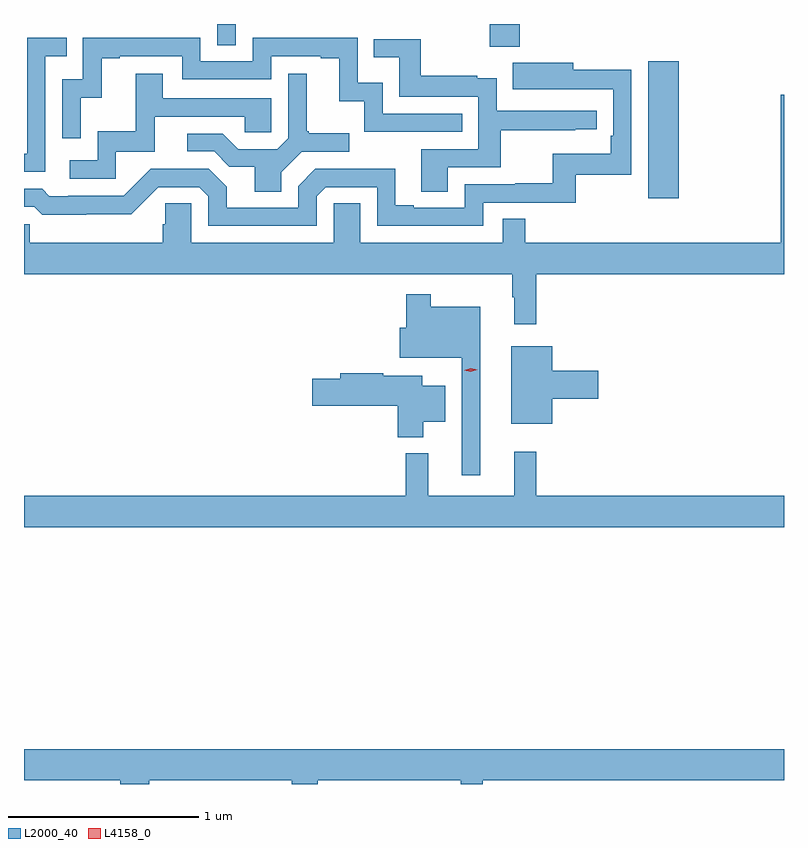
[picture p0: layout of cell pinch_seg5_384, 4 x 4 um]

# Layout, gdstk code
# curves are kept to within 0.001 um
import gdstk
lib = gdstk.Library(unit=1e-6, precision=1e-09)
def R(c, l, rs):  # rectangles x0, y0, x1, y1
    for r in rs: c.add(gdstk.rectangle(r[:2], r[2:], *l))
def P(c, l, *ps):  # polygons
    for p in ps: c.add(gdstk.Polygon(p, *l))
L2000_40 = (2000, 40)
L4158_0 = (4158, 0)

pinch_seg5_384 = lib.new_cell('pinch_seg5_384')
R(pinch_seg5_384, L2000_40, [(975.407,871.812,975.568,872.533), (974.572,872.609,974.732,872.728), (973.14,872.617,973.236,872.728)])
P(pinch_seg5_384, L2000_40, [(972.42,872.339),(972.53,872.339),(972.53,872.547),(972.625,872.547),(972.625,872.559),(972.954,872.559),(972.954,872.436),(973.422,872.436),(973.422,872.559),(973.685,872.559),(973.685,872.547),(973.781,872.547),(973.781,872.321),(973.914,872.321),(973.914,872.16),(974.429,872.16),(974.429,872.256),(974.01,872.256),(974.01,872.419),(973.878,872.419),(973.878,872.655),(973.326,872.655),(973.326,872.532),(973.05,872.532),(973.05,872.655),(972.432,872.655),(972.432,872.436),(972.324,872.436),(972.324,872.127),(972.42,872.127)],
  [(972.234,872.559),(972.347,872.559),(972.347,872.655),(972.138,872.655),(972.138,872.046),(972.122,872.046),(972.122,871.95),(972.234,871.95)],
  [(974.353,871.974),(974.63,871.974),(974.63,872.17),(975.023,872.17),(975.023,872.175),(975.136,872.175),(975.136,872.271),(974.61,872.271),(974.61,872.443),(974.507,872.443),(974.507,872.455),(974.209,872.455),(974.209,872.649),(973.963,872.649),(973.963,872.552),(974.098,872.552),(974.098,872.346),(974.514,872.346),(974.514,872.07),(974.213,872.07),(974.213,871.846),(974.353,871.846)],
  [(973.662,871.821),(973.71,871.869),(973.98,871.869),(973.98,871.665),(974.538,871.665),(974.538,871.788),(975.025,871.788),(975.025,871.935),(975.318,871.935),(975.318,872.486),(975.013,872.486),(975.013,872.524),(974.695,872.524),(974.695,872.384),(975.222,872.385),(975.222,872.14),(975.209,872.14),(975.209,872.044),(974.904,872.044),(974.904,871.889),(974.707,871.889),(974.707,871.884),(974.442,871.884),(974.442,871.761),(974.173,871.761),(974.173,871.774),(974.077,871.774),(974.077,871.967),(973.872,871.967),(973.872,871.965),(973.656,871.965),(973.566,871.875),(973.566,871.761),(973.189,871.761),(973.189,871.871),(973.095,871.965),(972.789,871.965),(972.648,871.824),(972.355,871.824),(972.355,871.821),(972.256,871.821),(972.217,871.86),(972.122,871.86),(972.122,871.767),(972.175,871.767),(972.217,871.725),(972.45,871.725),(972.45,871.727),(972.686,871.727),(972.828,871.869),(973.044,871.869),(973.092,871.821),(973.092,871.665),(973.662,871.665)],
  [(973.477,871.948),(973.584,872.055),(973.834,872.055),(973.834,872.152),(973.621,872.152),(973.621,872.164),(973.609,872.164),(973.609,872.467),(973.512,872.467),(973.512,872.127),(973.455,872.07),(973.249,872.07),(973.168,872.151),(972.981,872.151),(972.981,872.058),(973.122,872.058),(973.202,871.978),(973.337,871.978),(973.337,871.846),(973.477,871.846)],
  [(972.606,872.055),(972.811,872.055),(972.811,872.241),(973.285,872.241),(973.285,872.157),(973.422,872.157),(973.422,872.337),(972.853,872.337),(972.853,872.467),(972.709,872.467),(972.709,872.164),(972.51,872.164),(972.51,872.01),(972.363,872.01),(972.363,871.914),(972.606,871.914)],
  [(974.819,871.412),(976.122,871.412),(976.122,872.356),(976.106,872.356),(976.106,871.576),(974.759,871.576),(974.759,871.703),(974.643,871.703),(974.643,871.576),(973.891,871.576),(973.891,871.784),(973.752,871.784),(973.752,871.576),(973.002,871.576),(973.002,871.784),(972.865,871.784),(972.865,871.674),(972.851,871.674),(972.851,871.576),(972.153,871.576),(972.153,871.674),(972.122,871.674),(972.122,871.412),(974.691,871.412),(974.691,871.289),(974.702,871.289),(974.702,871.149),(974.819,871.149)],
  [(974.524,871.24),(974.263,871.24),(974.263,871.306),(974.134,871.306),(974.134,871.129),(974.1,871.129),(974.1,870.971),(974.427,870.971),(974.427,870.354),(974.524,870.354)],
  [(974.902,870.755),(975.145,870.755),(975.145,870.902),(974.902,870.902),(974.902,871.033),(974.687,871.033),(974.687,870.623),(974.902,870.623)],
  [(974.224,870.635),(974.338,870.635),(974.338,870.823),(974.218,870.823),(974.218,870.877),(974.012,870.877),(974.012,870.89),(973.787,870.89),(973.787,870.86),(973.638,870.86),(973.638,870.718),(974.09,870.718),(974.09,870.554),(974.224,870.554)],
  [(976.122,870.244),(974.819,870.244),(974.819,870.478),(974.702,870.478),(974.702,870.244),(974.249,870.244),(974.249,870.469),(974.131,870.469),(974.131,870.244),(972.122,870.244),(972.122,870.08),(976.122,870.08)],
  [(972.78,868.748),(973.53,868.748),(973.53,868.728),(973.669,868.728),(973.669,868.748),(974.421,868.748),(974.421,868.728),(974.537,868.728),(974.537,868.748),(976.122,868.748),(976.122,868.912),(972.122,868.912),(972.122,868.748),(972.629,868.748),(972.629,868.728),(972.78,868.728)])
P(pinch_seg5_384, L4158_0, [(974.473,870.897),(974.438,870.905),(974.437,870.905),(974.438,870.905),(974.472,870.917),(974.508,870.909),(974.508,870.909),(974.508,870.909)])

lib.write_gds('pinch_seg5_384.gds')
